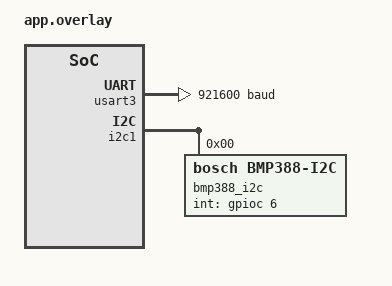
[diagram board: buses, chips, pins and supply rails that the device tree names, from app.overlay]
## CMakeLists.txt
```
cmake_minimum_required(VERSION 3.20.0)

# Library
list(APPEND ZEPHYR_EXTRA_MODULES
  ${CMAKE_CURRENT_SOURCE_DIR}/alt_drv   
  )

find_package(Zephyr)
set(DTS_ROOT  ${CMAKE_CURRENT_SOURCE_DIR})

project(alt-drv)

# Hardcoded root path
set(MONOREPO_ROOT "/workspaces/concord")
set(MONOREPO_ROOT ${MONOREPO_ROOT} CACHE INTERNAL "Monorepo root directory")

# Cipher Library
zephyr_include_directories(${MONOREPO_ROOT}/libs/cipher/include)
zephyr_include_directories(${MONOREPO_ROOT}/libs/cipher/test/include)
add_subdirectory(${MONOREPO_ROOT}/libs/cipher ${CMAKE_CURRENT_BINARY_DIR}/_libs/cipher)

# Local Services (offered)
zephyr_include_directories(${MONOREPO_ROOT}/services/tests/alt-drv-test-srvc/c)
add_subdirectory(${MONOREPO_ROOT}/services/tests/alt-drv-test-srvc/c ${CMAKE_CURRENT_BINARY_DIR}/_services/alt-drv-test-srvc)

# Remote Services (consumed)
zephyr_include_directories(${MONOREPO_ROOT}/services/fixtures/alt-sim-srvc/c)
add_subdirectory(${MONOREPO_ROOT}/services/fixtures/alt-sim-srvc/c ${CMAKE_CURRENT_BINARY_DIR}/_services/alt-sim-srvc)

target_sources(app PRIVATE src/main.c src/test/test.c src/test/rpc.c src/config/config.c)
```

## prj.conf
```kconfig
# Logging
CONFIG_LOG=y
CONFIG_LOG_MODE_IMMEDIATE=y
CONFIG_LOG_BACKEND_SHOW_COLOR=y
# CONFIG_LOG_MODE_DEFERRED=y
CONFIG_BOOT_BANNER=n
CONFIG_ASSERT=y
CONFIG_POLL=y

CONFIG_GPIO=y


# Scheduler
CONFIG_NUM_PREEMPT_PRIORITIES=121

# Drivers
CONFIG_ALT_I2C_DRV=y

# Thread analyzer
# CONFIG_THREAD_ANALYZER=y
# CONFIG_THREAD_ANALYZER_USE_LOG=y
# CONFIG_THREAD_ANALYZER_AUTO=y
# CONFIG_THREAD_ANALYZER_AUTO_INTERVAL=5

# Set log level to debug for maximum output
# CONFIG_LOG_DEFAULT_LEVEL=4

# Enable log processing at boot to capture early logs
# CONFIG_BOOT_TIME_MEASUREMENT=y

# General config
CONFIG_NEWLIB_LIBC=y
CONFIG_MAIN_STACK_SIZE=1200

# Networking config
CONFIG_NETWORKING=y
# CONFIG_NET_LOOPBACK=y
# CONFIG_NET_LOOPBACK_LOG_LEVEL_DBG=y
CONFIG_NET_IPV4=y
CONFIG_NET_DHCPV4=n
CONFIG_NET_IPV6=n
CONFIG_NET_TCP=y
CONFIG_NET_SOCKETS=y
CONFIG_NET_SOCKETS_POSIX_NAMES=y

# ESP32 specific net config
CONFIG_WIFI=y
CONFIG_INIT_STACKS=y
CONFIG_NET_L2_WIFI_MGMT=y
CONFIG_DNS_RESOLVER=y

# Socket options
CONFIG_NET_CONTEXT_SNDTIMEO=y
CONFIG_NET_CONTEXT_RCVTIMEO=y

# Network driver config
# CONFIG_TEST_RANDOM_GENERATOR=y

# Network address config
CONFIG_NET_CONFIG_SETTINGS=y
CONFIG_NET_CONFIG_NEED_IPV4=y
CONFIG_NET_CONFIG_MY_IPV4_ADDR="192.168.0.69"
CONFIG_NET_CONFIG_MY_IPV4_NETMASK="255.0.0.0"

# Threads
CONFIG_PRINTK=y
CONFIG_HEAP_MEM_POOL_SIZE=256
CONFIG_ASSERT=y
CONFIG_GPIO=y

# Thread-Aware debugging
CONFIG_THREAD_MONITOR=y
CONFIG_INIT_STACKS=y
CONFIG_DEBUG_THREAD_INFO=y
CONFIG_THREAD_STACK_INFO=y
CONFIG_THREAD_NAME=y

# -- disable code optimization so we can debug
CONFIG_DEBUG_OPTIMIZATIONS=y
CONFIG_EXCEPTION_STACK_TRACE=y
CONFIG_DEBUG_INFO=y
CONFIG_ASSERT=y

# -- system debug options
# CONFIG_SYS_HEAP_VALIDATE=y
# CONFIG_STACK_SENTINEL=y
# CONFIG_USERSPACE=y

# Useful to detect stack overflows
# CONFIG_STACK_CANARIES=y
# CONFIG_DYNAMIC_OBJECTS=y
# CONFIG_HEAP_MEM_POOL_SIZE=100000
```

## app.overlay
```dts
&usart3 {
    current-speed = <0xe1000>;
};

&i2c1 {
    bmp388_i2c: bmp388_i2c@1 {
        compatible = "bosch,bmp388-i2c";
        reg = <0>;
        int-gpios = <&gpioc 6 GPIO_ACTIVE_HIGH>;
    };
};
```

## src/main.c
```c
// Zephyr includes
#include <zephyr/kernel.h>
#include <zephyr/logging/log.h>

// Cipher includes
#include "daemon/api.h"

// App includes
#include "alt-drv-test-srvc.h"  // We offer this service to the runner
#include "alt-sim-srvc.h"       // We consume this service from the icle
#include "config/config.h"      // Network configuration of cluster
#include "test/test.h"          // Test App

LOG_MODULE_REGISTER(app);

int main(void) {
    LOG_RAW("%s", "********** Accel Drv Test App **********");

    // Create a new daemon instance
    cipher_daemon_config_t* cfg = get_app_config();
    cipher_daemon_t* d = get_app_daemon();
    cipher_daemon_init(cfg, d);

    size_t num_local_services = 0;
    cipher_service_entry_t* local_services = alt_drv_test_get_services(&num_local_services);
    cipher_register_local_services(d, local_services, num_local_services);  // Services we offer

    size_t num_remote_services = 0;
    cipher_service_entry_t* remote_services = alt_sim_fixture_get_services(&num_remote_services);
    cipher_register_remote_services(d, remote_services, num_remote_services);  // Services we consume

    // Start
    cipher_daemon_start(d);
    test_app_start();

    // run_manual_test();
}
```
